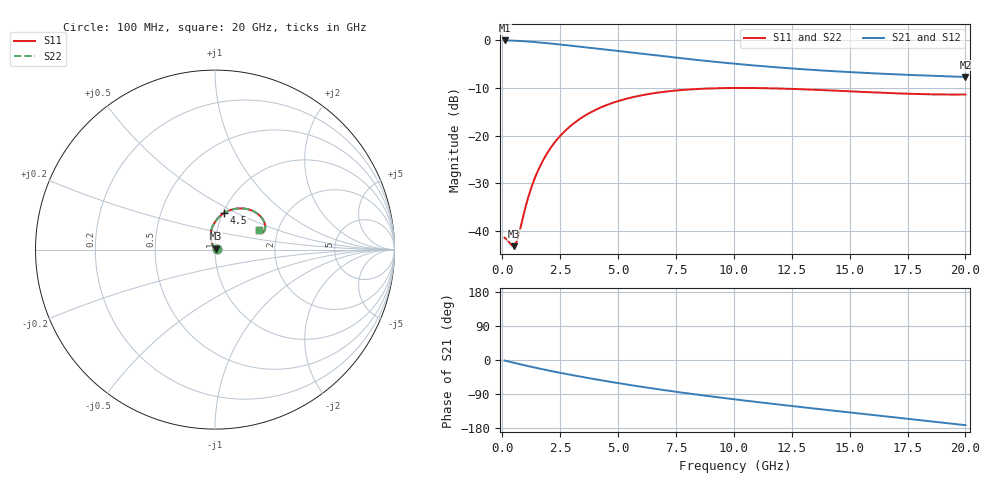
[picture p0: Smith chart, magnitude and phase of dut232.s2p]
! Created with skrf 1.9.0 (http://scikit-rf.org).
# GHz S RI R 50.0
!freq ReS11 ImS11 ReS21 ImS21 ReS12 ImS12 ReS22 ImS22
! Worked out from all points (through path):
!   200 points, 100 MHz to 20 GHz, reference 50 ohm
!   highest |S21| = -0.08 dB at 100 MHz (marker M1); lowest = -7.7 dB at 20 GHz (marker M2)
!   group delay of S21, straight-line fit = 22.5 ps
!   lowest |S11| = -43.2 dB at 500 MHz (marker M3), VSWR 1.01, Z = 50.4 + j0.538 ohm
!   |S11| at or under -10 dB: start of sweep to end of sweep
!   |S22| runs from -43.2 to -10.0 dB; largest |S21 - S12| = 2.1e-15
!   S11 on the Smith chart (normalised r, x): 100 MHz: 1.02, +0.00; 4.5 GHz: 1.01, +0.43; 20 GHz: 1.60, +0.37
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0.1  0.00843 0.000977  0.9908 -0.0257  0.9908 -0.0257  0.00843 0.000977
0.4  0.0059 0.00397  0.9825 -0.1016  0.9825 -0.1016  0.0059 0.00397
0.5  0.00442 0.00534  0.9777 -0.1264  0.9777 -0.1264  0.00442 0.00534
0.6  0.00268 0.00695  0.9719 -0.1507  0.9719 -0.1507  0.00268 0.00695
0.7  0.00071 0.00886  0.9651 -0.1746  0.9651 -0.1746  0.00071 0.00886
1  -0.00608 0.0166  0.9399 -0.2431  0.9399 -0.2431  -0.00608 0.0166
1.3  -0.0131 0.0277  0.9085 -0.306  0.9085 -0.306  -0.0131 0.0277
1.5  -0.0173 0.0368  0.8848 -0.3448  0.8848 -0.3448  -0.0173 0.0368
1.8  -0.0221 0.0528  0.846 -0.398  0.846 -0.398  -0.0221 0.0528
2.1  -0.0243 0.0708  0.8046 -0.4454  0.8046 -0.4454  -0.0243 0.0708
2.5  -0.0228 0.0964  0.7465 -0.5003  0.7465 -0.5003  -0.0228 0.0964
3  -0.0136 0.1284  0.6713 -0.5566  0.6713 -0.5566  -0.0136 0.1284
3.5  0.00265 0.1578  0.5951 -0.6007  0.5951 -0.6007  0.00265 0.1578
4.5  0.0493 0.2023  0.4449 -0.6572  0.4449 -0.6572  0.0493 0.2023
5.6  0.1087 0.2264  0.2912 -0.6793  0.2912 -0.6793  0.1087 0.2264
6.8  0.1684 0.2279  0.1444 -0.6684  0.1444 -0.6684  0.1684 0.2279
8.4  0.2278 0.206  -0.0136 -0.6194  -0.0136 -0.6194  0.2278 0.206
10.1  0.264 0.1718  -0.1394 -0.5461  -0.1394 -0.5461  0.264 0.1718
11.7  0.2783 0.1411  -0.2274 -0.4698  -0.2274 -0.4698  0.2783 0.1411
13.4  0.2793 0.1158  -0.297 -0.3864  -0.297 -0.3864  0.2793 0.1158
16.7  0.2621 0.0949  -0.3807 -0.2224  -0.3807 -0.2224  0.2621 0.0949
20  0.2467 0.1076  -0.4069 -0.0575  -0.4069 -0.0575  0.2467 0.1076
